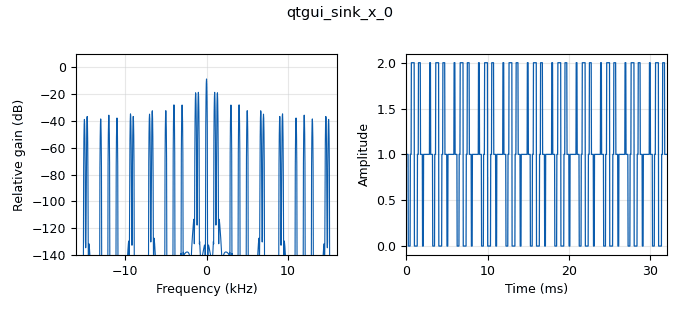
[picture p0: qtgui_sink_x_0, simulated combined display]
options:
  parameters:
    generate_options: qt_gui
    id: sineWave
    output_language: python
    title: Your First Flowgraph
  states: {}

blocks:
- name: samp_rate
  id: variable
  parameters:
    value: '32000'
  states: {}
- name: analog_sig_source_x_0
  id: analog_sig_source_x
  parameters:
    amp: '1'
    freq: '1000'
    offset: '0'
    phase: '0'
    samp_rate: samp_rate
    type: float
    waveform: analog.GR_SQR_WAVE
  states: {}
- name: analog_sig_source_x_1
  id: analog_sig_source_x
  parameters:
    amp: '1'
    freq: '1000'
    offset: '0'
    phase: '0'
    samp_rate: '24000'
    type: float
    waveform: analog.GR_SQR_WAVE
  states: {}
- name: audio_sink_0
  id: audio_sink
  parameters:
    samp_rate: '16000'
  states: {state: disabled}
- name: blocks_add_xx_0
  id: blocks_add_xx
  parameters:
    type: float
  states: {}
- name: blocks_vector_sink_x_0
  id: blocks_vector_sink_x
  parameters:
    type: float
  states: {state: disabled}
- name: qtgui_sink_x_0
  id: qtgui_sink_x
  parameters:
    bw: samp_rate
    fc: '0'
    fftsize: '1024'
    type: float
    wintype: firdes.WIN_BLACKMAN_hARRIS
  states: {}

connections:
- [analog_sig_source_x_0, '0', blocks_add_xx_0, '0']
- [analog_sig_source_x_1, '0', blocks_add_xx_0, '1']
- [blocks_add_xx_0, '0', audio_sink_0, '0']
- [blocks_add_xx_0, '0', blocks_vector_sink_x_0, '0']
- [blocks_add_xx_0, '0', qtgui_sink_x_0, '0']

metadata:
  file_format: 1
